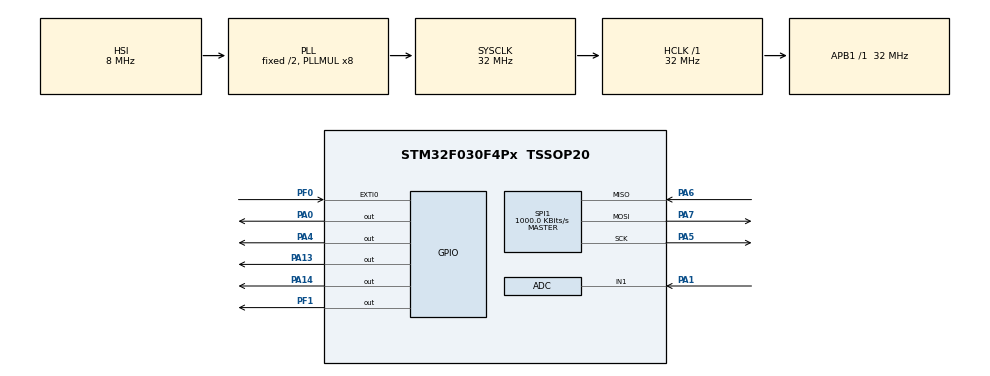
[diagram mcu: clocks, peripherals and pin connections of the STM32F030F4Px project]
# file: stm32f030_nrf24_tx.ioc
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ADC.SamplingTime=ADC_SAMPLETIME_55CYCLES_5
Dma.ADC.0.Direction=DMA_PERIPH_TO_MEMORY
Dma.ADC.0.Instance=DMA1_Channel1
Dma.ADC.0.MemDataAlignment=DMA_MDATAALIGN_HALFWORD
Dma.ADC.0.MemInc=DMA_MINC_ENABLE
Dma.ADC.0.Mode=DMA_NORMAL
Dma.ADC.0.PeriphDataAlignment=DMA_PDATAALIGN_HALFWORD
Dma.ADC.0.PeriphInc=DMA_PINC_DISABLE
Dma.ADC.0.Priority=DMA_PRIORITY_MEDIUM
Dma.Request0=ADC
Mcu.Family=STM32F0
Mcu.Name=STM32F030F4Px
Mcu.Package=TSSOP20
NVIC.DMA1_Channel1_IRQn=true\:0\:0\:false\:false\:true\:false
NVIC.EXTI0_1_IRQn=true\:0\:0\:false\:false\:true\:true
NVIC.TIM16_IRQn=true\:0\:0\:false\:false\:true\:true
PA0.Signal=GPIO_Output
PA1.Mode=IN1
PA1.Signal=ADC_IN1
PA13.Signal=GPIO_Output
PA14.Signal=GPIO_Output
PA4.Signal=GPIO_Output
PA5.Mode=Full_Duplex_Master
PA5.Signal=SPI1_SCK
PA6.Mode=Full_Duplex_Master
PA6.Signal=SPI1_MISO
PA7.Mode=Full_Duplex_Master
PA7.Signal=SPI1_MOSI
PF0-OSC_IN.GPIO_ModeDefaultEXTI=GPIO_MODE_IT_FALLING
PF0-OSC_IN.Signal=GPXTI0
PF1-OSC_OUT.Signal=GPIO_Output
ProjectManager.HeapSize=0x200
ProjectManager.StackSize=0x400
ProjectManager.TargetToolchain=MDK-ARM V5
RCC.AHBFreq_Value=32000000
RCC.APB1Freq_Value=32000000
RCC.APB1TimFreq_Value=32000000
RCC.HCLKFreq_Value=32000000
RCC.PLLMUL=RCC_PLL_MUL8
RCC.SYSCLKFreq_VALUE=32000000
RCC.SYSCLKSource=RCC_SYSCLKSOURCE_PLLCLK
SPI1.BaudRatePrescaler=SPI_BAUDRATEPRESCALER_32
SPI1.CLKPhase=SPI_PHASE_1EDGE
SPI1.CLKPolarity=SPI_POLARITY_LOW
SPI1.CalculateBaudRate=1000.0 KBits/s
SPI1.DataSize=SPI_DATASIZE_8BIT
SPI1.Direction=SPI_DIRECTION_2LINES
SPI1.Mode=SPI_MODE_MASTER
SPI1.NSSPMode=SPI_NSS_PULSE_DISABLE
SPI1.VirtualType=VM_MASTER
TIM16.Period=1
TIM16.Prescaler=31999
TIM3.Period=1000
TIM3.Prescaler=450
VP_TIM16_VS_ClockSourceINT.Mode=Enable_Timer
VP_TIM3_VS_ClockSourceINT.Mode=Internal
board=custom

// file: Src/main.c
/**
  ******************************************************************************
  * @file           : main.c
  * @brief          : Main program body
  ******************************************************************************
  ** This notice applies to any and all portions of this file
  * that are not between comment pairs USER CODE BEGIN and
  * USER CODE END. Other portions of this file, whether
  * inserted by the user or by software development tools
  * are owned by their respective copyright owners.
  *
  * COPYRIGHT(c) 2018 STMicroelectronics
  *
  * Redistribution and use in source and binary forms, with or without modification,
  * are permitted provided that the following conditions are met:
  *   1. Redistributions of source code must retain the above copyright notice,
  *      this list of conditions and the following disclaimer.
  *   2. Redistributions in binary form must reproduce the above copyright notice,
  *      this list of conditions and the following disclaimer in the documentation
  *      and/or other materials provided with the distribution.
  *   3. Neither the name of STMicroelectronics nor the names of its contributors
  *      may be used to endorse or promote products derived from this software
  *      without specific prior written permission.
  *
  * THIS SOFTWARE IS PROVIDED BY THE COPYRIGHT HOLDERS AND CONTRIBUTORS "AS IS"
  * AND ANY EXPRESS OR IMPLIED WARRANTIES, INCLUDING, BUT NOT LIMITED TO, THE
  * IMPLIED WARRANTIES OF MERCHANTABILITY AND FITNESS FOR A PARTICULAR PURPOSE ARE
  * DISCLAIMED. IN NO EVENT SHALL THE COPYRIGHT HOLDER OR CONTRIBUTORS BE LIABLE
  * FOR ANY DIRECT, INDIRECT, INCIDENTAL, SPECIAL, EXEMPLARY, OR CONSEQUENTIAL
  * DAMAGES (INCLUDING, BUT NOT LIMITED TO, PROCUREMENT OF SUBSTITUTE GOODS OR
  * SERVICES; LOSS OF USE, DATA, OR PROFITS; OR BUSINESS INTERRUPTION) HOWEVER
  * CAUSED AND ON ANY THEORY OF LIABILITY, WHETHER IN CONTRACT, STRICT LIABILITY,
  * OR TORT (INCLUDING NEGLIGENCE OR OTHERWISE) ARISING IN ANY WAY OUT OF THE USE
  * OF THIS SOFTWARE, EVEN IF ADVISED OF THE POSSIBILITY OF SUCH DAMAGE.
  *
  ******************************************************************************
  */
#include "main.h"
#include "stm32f0xx_hal.h"

/* USER CODE BEGIN Includes */
#include "nrf24.h"

#define LED_MAIN_ON		HAL_GPIO_WritePin(GPIOA, GPIO_PIN_4, GPIO_PIN_SET)
#define LED_MAIN_OFF	HAL_GPIO_WritePin(GPIOA, GPIO_PIN_4, GPIO_PIN_RESET)

/* USER CODE END Includes */

ADC_HandleTypeDef hadc;
DMA_HandleTypeDef hdma_adc;

SPI_HandleTypeDef hspi1;

TIM_HandleTypeDef htim3;
TIM_HandleTypeDef htim16;

/* USER CODE BEGIN PV */
/* Private variables ---------------------------------------------------------*/
char str1[20]={0};
uint8_t buf1[20]={0}; // buffer receive
extern uint8_t RX_BUF[TX_PLOAD_WIDTH+1];

volatile uint16_t ADC_Data[6]; // buffer from data in DMA

/* USER CODE END PV */

void SystemClock_Config(void);
static void MX_GPIO_Init(void);
static void MX_DMA_Init(void);
static void MX_SPI1_Init(void);
static void MX_TIM16_Init(void);
static void MX_TIM3_Init(void);
static void MX_ADC_Init(void);

/* USER CODE BEGIN PFP */
/* Private function prototypes -----------------------------------------------*/
uint8_t SetResBits (uint8_t set, uint8_t value, uint8_t pos); // function set one bit in byte
uint8_t CheckBits (uint8_t value, uint8_t pos);	// function read one bit in byte
/* USER CODE END PFP */

int main(void)
{

  /* MCU Configuration----------------------------------------------------------*/

  /* Reset of all peripherals, Initializes the Flash interface and the Systick. */
  HAL_Init();

  /* Configure the system clock */
  SystemClock_Config();

  /* Initialize all configured peripherals */
  MX_GPIO_Init();
  MX_DMA_Init();
  MX_SPI1_Init();
  MX_TIM16_Init();
  MX_TIM3_Init();
  MX_ADC_Init();
  /* USER CODE BEGIN 2 */
	HAL_Delay(100);
	LED_MAIN_ON;

	HAL_ADC_Start_DMA(&hadc,(uint32_t*) &ADC_Data,3);
	NRF24_ini();
	HAL_Delay(10);
	HAL_TIM_Base_Start_IT(&htim16);

	LED_MAIN_OFF;
  /* USER CODE END 2 */

  /* Infinite loop */
  while (1)
  {

  /* USER CODE BEGIN 3 */

		buf1[1] = 90;
		buf1[0] = 100;
		HAL_Delay(30);
		NRF24L01_Send(buf1);

  }
  /* USER CODE END 3 */

}

void SystemClock_Config(void)
{

  RCC_OscInitTypeDef RCC_OscInitStruct;
  RCC_ClkInitTypeDef RCC_ClkInitStruct;

    /**Initializes the CPU, AHB and APB busses clocks
    */
  RCC_OscInitStruct.OscillatorType = RCC_OSCILLATORTYPE_HSI|RCC_OSCILLATORTYPE_HSI14;
  RCC_OscInitStruct.HSIState = RCC_HSI_ON;
  RCC_OscInitStruct.HSI14State = RCC_HSI14_ON;
  RCC_OscInitStruct.HSICalibrationValue = 16;
  RCC_OscInitStruct.HSI14CalibrationValue = 16;
  RCC_OscInitStruct.PLL.PLLState = RCC_PLL_ON;
  RCC_OscInitStruct.PLL.PLLSource = RCC_PLLSOURCE_HSI;
  RCC_OscInitStruct.PLL.PLLMUL = RCC_PLL_MUL8;
  RCC_OscInitStruct.PLL.PREDIV = RCC_PREDIV_DIV1;
  if (HAL_RCC_OscConfig(&RCC_OscInitStruct) != HAL_OK)
  {
    _Error_Handler(__FILE__, __LINE__);
  }

    /**Initializes the CPU, AHB and APB busses clocks
    */
  RCC_ClkInitStruct.ClockType = RCC_CLOCKTYPE_HCLK|RCC_CLOCKTYPE_SYSCLK
                              |RCC_CLOCKTYPE_PCLK1;
  RCC_ClkInitStruct.SYSCLKSource = RCC_SYSCLKSOURCE_PLLCLK;
  RCC_ClkInitStruct.AHBCLKDivider = RCC_SYSCLK_DIV1;
  RCC_ClkInitStruct.APB1CLKDivider = RCC_HCLK_DIV1;

  if (HAL_RCC_ClockConfig(&RCC_ClkInitStruct, FLASH_LATENCY_1) != HAL_OK)
  {
    _Error_Handler(__FILE__, __LINE__);
  }

    /**Configure the Systick interrupt time
    */
  HAL_SYSTICK_Config(HAL_RCC_GetHCLKFreq()/1000);

    /**Configure the Systick
    */
  HAL_SYSTICK_CLKSourceConfig(SYSTICK_CLKSOURCE_HCLK);

  /* SysTick_IRQn interrupt configuration */
  HAL_NVIC_SetPriority(SysTick_IRQn, 0, 0);
}

/* ADC init function */
static void MX_ADC_Init(void)
{

  ADC_ChannelConfTypeDef sConfig;

    /**Configure the global features of the ADC (Clock, Resolution, Data Alignment and number of conversion)
    */
  hadc.Instance = ADC1;
  hadc.Init.ClockPrescaler = ADC_CLOCK_ASYNC_DIV1;
  hadc.Init.Resolution = ADC_RESOLUTION_12B;
  hadc.Init.DataAlign = ADC_DATAALIGN_RIGHT;
  hadc.Init.ScanConvMode = ADC_SCAN_DIRECTION_FORWARD;
  hadc.Init.EOCSelection = ADC_EOC_SINGLE_CONV;
  hadc.Init.LowPowerAutoWait = DISABLE;
  hadc.Init.LowPowerAutoPowerOff = DISABLE;
  hadc.Init.ContinuousConvMode = DISABLE;
  hadc.Init.DiscontinuousConvMode = DISABLE;
  hadc.Init.ExternalTrigConv = ADC_SOFTWARE_START;
  hadc.Init.ExternalTrigConvEdge = ADC_EXTERNALTRIGCONVEDGE_NONE;
  hadc.Init.DMAContinuousRequests = DISABLE;
  hadc.Init.Overrun = ADC_OVR_DATA_PRESERVED;
  if (HAL_ADC_Init(&hadc) != HAL_OK)
  {
    _Error_Handler(__FILE__, __LINE__);
  }

    /**Configure for the selected ADC regular channel to be converted.
    */
  sConfig.Channel = ADC_CHANNEL_1;
  sConfig.Rank = ADC_RANK_CHANNEL_NUMBER;
  sConfig.SamplingTime = ADC_SAMPLETIME_55CYCLES_5;
  if (HAL_ADC_ConfigChannel(&hadc, &sConfig) != HAL_OK)
  {
    _Error_Handler(__FILE__, __LINE__);
  }

}

/* SPI1 init function */
static void MX_SPI1_Init(void)
{

  /* SPI1 parameter configuration*/
  hspi1.Instance = SPI1;
  hspi1.Init.Mode = SPI_MODE_MASTER;
  hspi1.Init.Direction = SPI_DIRECTION_2LINES;
  hspi1.Init.DataSize = SPI_DATASIZE_8BIT;
  hspi1.Init.CLKPolarity = SPI_POLARITY_LOW;
  hspi1.Init.CLKPhase = SPI_PHASE_1EDGE;
  hspi1.Init.NSS = SPI_NSS_SOFT;
  hspi1.Init.BaudRatePrescaler = SPI_BAUDRATEPRESCALER_32;
  hspi1.Init.FirstBit = SPI_FIRSTBIT_MSB;
  hspi1.Init.TIMode = SPI_TIMODE_DISABLE;
  hspi1.Init.CRCCalculation = SPI_CRCCALCULATION_DISABLE;
  hspi1.Init.CRCPolynomial = 7;
  hspi1.Init.CRCLength = SPI_CRC_LENGTH_DATASIZE;
  hspi1.Init.NSSPMode = SPI_NSS_PULSE_DISABLE;
  if (HAL_SPI_Init(&hspi1) != HAL_OK)
  {
    _Error_Handler(__FILE__, __LINE__);
  }

}

/* TIM3 init function */
static void MX_TIM3_Init(void)
{

  TIM_ClockConfigTypeDef sClockSourceConfig;
  TIM_MasterConfigTypeDef sMasterConfig;

  htim3.Instance = TIM3;
  htim3.Init.Prescaler = 450;
  htim3.Init.CounterMode = TIM_COUNTERMODE_UP;
  htim3.Init.Period = 1000;
  htim3.Init.ClockDivision = TIM_CLOCKDIVISION_DIV1;
  htim3.Init.AutoReloadPreload = TIM_AUTORELOAD_PRELOAD_DISABLE;
  if (HAL_TIM_Base_Init(&htim3) != HAL_OK)
  {
    _Error_Handler(__FILE__, __LINE__);
  }

  sClockSourceConfig.ClockSource = TIM_CLOCKSOURCE_INTERNAL;
  if (HAL_TIM_ConfigClockSource(&htim3, &sClockSourceConfig) != HAL_OK)
  {
    _Error_Handler(__FILE__, __LINE__);
  }

  sMasterConfig.MasterOutputTrigger = TIM_TRGO_RESET;
  sMasterConfig.MasterSlaveMode = TIM_MASTERSLAVEMODE_DISABLE;
  if (HAL_TIMEx_MasterConfigSynchronization(&htim3, &sMasterConfig) != HAL_OK)
  {
    _Error_Handler(__FILE__, __LINE__);
  }

}

/* TIM16 init function */
static void MX_TIM16_Init(void)
{

  htim16.Instance = TIM16;
  htim16.Init.Prescaler = 31999;
  htim16.Init.CounterMode = TIM_COUNTERMODE_UP;
  htim16.Init.Period = 1;
  htim16.Init.ClockDivision = TIM_CLOCKDIVISION_DIV1;
  htim16.Init.RepetitionCounter = 0;
  htim16.Init.AutoReloadPreload = TIM_AUTORELOAD_PRELOAD_DISABLE;
  if (HAL_TIM_Base_Init(&htim16) != HAL_OK)
  {
    _Error_Handler(__FILE__, __LINE__);
  }

}

static void MX_DMA_Init(void)
{
  /* DMA controller clock enable */
  __HAL_RCC_DMA1_CLK_ENABLE();

  /* DMA interrupt init */
  /* DMA1_Channel1_IRQn interrupt configuration */
  HAL_NVIC_SetPriority(DMA1_Channel1_IRQn, 0, 0);
  HAL_NVIC_EnableIRQ(DMA1_Channel1_IRQn);

}

/** Configure pins as
        * Analog
        * Input
        * Output
        * EVENT_OUT
        * EXTI
*/
static void MX_GPIO_Init(void)
{

  GPIO_InitTypeDef GPIO_InitStruct;

  /* GPIO Ports Clock Enable */
  __HAL_RCC_GPIOF_CLK_ENABLE();
  __HAL_RCC_GPIOA_CLK_ENABLE();

  /*Configure GPIO pin Output Level */
  HAL_GPIO_WritePin(GPIOF, GPIO_PIN_1, GPIO_PIN_RESET);

  /*Configure GPIO pin Output Level */
  HAL_GPIO_WritePin(GPIOA, GPIO_PIN_0|GPIO_PIN_4|GPIO_PIN_13|GPIO_PIN_14, GPIO_PIN_RESET);

  /*Configure GPIO pin : PF0 */
  GPIO_InitStruct.Pin = GPIO_PIN_0;
  GPIO_InitStruct.Mode = GPIO_MODE_IT_FALLING;
  GPIO_InitStruct.Pull = GPIO_NOPULL;
  HAL_GPIO_Init(GPIOF, &GPIO_InitStruct);

  /*Configure GPIO pin : PF1 */
  GPIO_InitStruct.Pin = GPIO_PIN_1;
  GPIO_InitStruct.Mode = GPIO_MODE_OUTPUT_PP;
  GPIO_InitStruct.Pull = GPIO_NOPULL;
  GPIO_InitStruct.Speed = GPIO_SPEED_FREQ_LOW;
  HAL_GPIO_Init(GPIOF, &GPIO_InitStruct);

  /*Configure GPIO pins : PA0 PA4 PA13 PA14 */
  GPIO_InitStruct.Pin = GPIO_PIN_0|GPIO_PIN_4|GPIO_PIN_13|GPIO_PIN_14;
  GPIO_InitStruct.Mode = GPIO_MODE_OUTPUT_PP;
  GPIO_InitStruct.Pull = GPIO_NOPULL;
  GPIO_InitStruct.Speed = GPIO_SPEED_FREQ_LOW;
  HAL_GPIO_Init(GPIOA, &GPIO_InitStruct);

  /* EXTI interrupt init*/
  HAL_NVIC_SetPriority(EXTI0_1_IRQn, 0, 0);
  HAL_NVIC_EnableIRQ(EXTI0_1_IRQn);

}

/* USER CODE BEGIN 4 */

void HAL_GPIO_EXTI_Callback(uint16_t GPIO_Pin)
{
  if(GPIO_Pin== GPIO_PIN_0)
  {
    IRQ_Callback();
  }
  else
  {
    __NOP();
  }
}

uint8_t SetResBits (uint8_t set, uint8_t value, uint8_t pos){ // set==1 - set bit
	if (set) {
		return  value |(1 << pos);
	}
	else {
		return value & (~(1 << pos));
	}
}

uint8_t CheckBits (uint8_t value, uint8_t pos){
	if (value & (1<<pos))
		return 1;
	else
		return 0;
}

/* USER CODE END 4 */

void _Error_Handler(char *file, int line)
{
  while(1)
  {
  }
}

/************************ (C) COPYRIGHT STMicroelectronics *****END OF FILE****/
